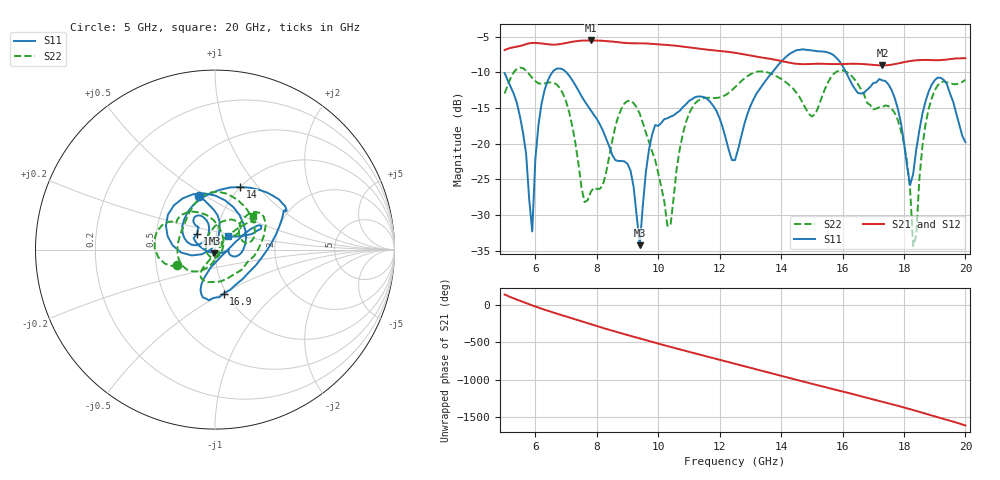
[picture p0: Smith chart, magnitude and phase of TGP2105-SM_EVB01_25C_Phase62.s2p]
! Date: Wednesday, June 05, 2013  1:53 PM
! Filename: C:\Data\Mike_Arnold\TGP2105-SM\Over_Temp\TGP2105-SM_EVB01_25C_Phase62.s2p
! Comments:
!^VDC(V):5.000
!^VDC(mA):0.131
!%Freq(GHz),S11(dB),S11(ang),S21(dB),S21(ang),S12(dB),S12(ang),S22(dB),S22(ang)
# GHz  S  DB  R  50
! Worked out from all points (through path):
!   151 points, 5 GHz to 20 GHz, reference 50 ohm
!   highest |S21| = -5.51 dB at 7.8 GHz (marker M1); lowest = -9.0 dB at 17.3 GHz (marker M2)
!   lowest |S11| = -34.2 dB at 9.4 GHz (marker M3), VSWR 1.04, Z = 49.7 - j1.9 ohm
!   |S11| at or under -10 dB: start of sweep to 6.554 GHz; 7.014 GHz to 13.71 GHz (6.699 GHz wide, 64.6 % of centre); 16.12 GHz to end of sweep
!   |S22| runs from -34.4 to -9.3 dB; largest |S21 - S12| = 0.0021
!   S11 on the Smith chart (normalised r, x): 5 GHz: 0.71, +0.47; 10 GHz: 0.81, +0.14; 14 GHz: 1.00, +0.81; 16.9 GHz: 0.97, -0.51; 20 GHz: 1.14, +0.17
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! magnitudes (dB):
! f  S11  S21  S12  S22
! 5 GHz  -10.1  -6.9  -6.9  -13.0
! 5.6 GHz  -18.5  -6.2  -6.2  -9.4
! 5.9 GHz  -32.3  -5.9  -5.9  -10.8
! 6.1 GHz  -17.5  -5.9  -5.9  -11.5
! 6.4 GHz  -11.2  -6.0  -6.1  -11.4
! 7.5 GHz  -13.3  -5.5  -5.6  -26.0
! 7.8 GHz  -15.3  -5.5  -5.5  -26.8
! 9.1 GHz  -23.8  -5.9  -5.9  -14.0
! 9.4 GHz  -34.2  -5.9  -5.9  -15.8
! 10 GHz  -17.5  -6.0  -6.1  -24.1
! 10.4 GHz  -16.2  -6.2  -6.2  -31.5
! 11 GHz  -14.0  -6.5  -6.5  -15.8
! 12.5 GHz  -22.3  -7.2  -7.3  -12.1
! 14 GHz  -8.5  -8.4  -8.4  -10.9
! 15 GHz  -6.9  -8.8  -8.8  -16.2
! 16.9 GHz  -12.0  -8.9  -8.9  -14.6
! 17.3 GHz  -11.1  -9.0  -9.0  -14.9
! 17.5 GHz  -11.7  -9.0  -9.0  -14.7
! 18 GHz  -19.8  -8.6  -8.6  -20.0
! 18.3 GHz  -24.3  -8.3  -8.4  -34.4
! 18.9 GHz  -11.8  -8.3  -8.3  -13.7
! 20 GHz  -19.8  -8.0  -8.0  -11.0
